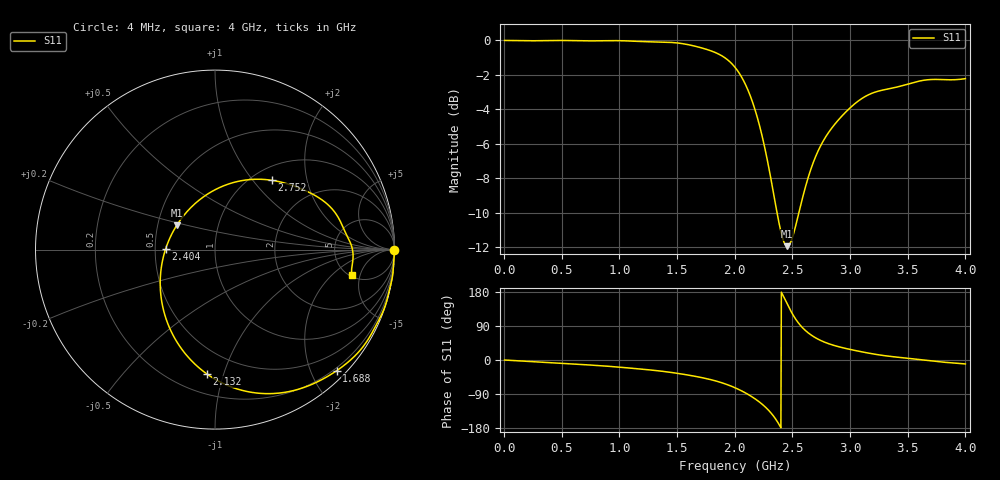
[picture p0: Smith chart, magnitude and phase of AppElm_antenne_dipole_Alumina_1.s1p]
! TOUCHSTONE file generated by CST MICROWAVE STUDIO
! Date and time: Sat May 14 12:00:55 2022
! Project name: AppElm_antenne_dipole_Alumina.cst
! Parameters = {L=33; e=0.035; f=2.45e+09; h=1.6; i=0.8; l1=2; lambda=122.449; ls=22.5; wl=1.7; ws=80}
! Header version: 2018
! Port assignment regex: !\s*Touchstone port\s*([0-9]+)\s*=\s*(CST MWS port|CST DS port)\s*([0-9]+|Zmin|Zmax)\s*\(\"(.*)\"\)(\s*mode\s*([0-9]+))?.*
! Touchstone port assignment:
! Touchstone port 1 = CST MWS port 1 ("")
# GHz S MA R 50
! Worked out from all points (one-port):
!   1000 points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, 4 MHz to 4 GHz, reference 50 ohm
!   lowest |S11| = -12.0 dB at 2.456 GHz (marker M1), VSWR 1.68, Z = 31.4 + j9.14 ohm
!   |S11| at or under -10 dB: 2.366 GHz to 2.556 GHz (190.1 MHz wide, 7.72 % of centre)
!   S11 on the Smith chart (normalised r, x): 4 MHz: open; 1.688 GHz: 0.15, -2.41; 2.132 GHz: 0.33, -0.88; 2.404 GHz: 0.57, +0.01; 2.752 GHz: 1.22, +1.26; 4 GHz: 5.23, -3.67
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0.004  1 -0.1
0.504  1 -8.6
1.004  0.9984 -19.0
1.32  0.9902 -28.0
1.504  0.9832 -35.3
1.688  0.9563 -44.9
1.78  0.9363 -50.9
1.856  0.9144 -57.1
1.928  0.8838 -64.2
2.004  0.834 -73.5
2.068  0.7734 -82.8
2.132  0.6938 -93.8
2.2  0.5902 -107.7
2.276  0.4602 -127.3
2.34  0.3538 -149.6
2.404  0.2747 179.0
2.456  0.2525 147.4
2.504  0.2704 119.6
2.56  0.3199 94.7
2.616  0.3786 76.9
2.676  0.4376 63.2
2.752  0.4997 50.6
2.86  0.567 38.5
3.004  0.6388 27.7
3.204  0.7053 15.8
3.504  0.7472 4.5
3.684  0.7694 -1.7
4  0.7744 -10.4
